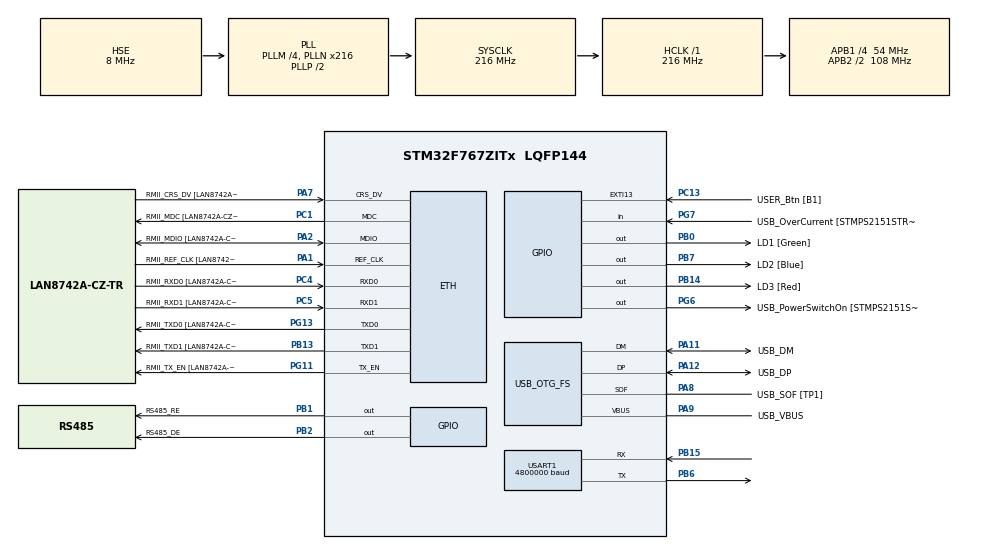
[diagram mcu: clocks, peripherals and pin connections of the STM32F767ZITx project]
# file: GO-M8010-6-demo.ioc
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ETH.MediaInterface=HAL_ETH_RMII_MODE
ETH.PHY_Name=LAN8742A_PHY_ADDRESS
ETH.PHY_Value=0
ETH.PhyAddress=0
Mcu.Family=STM32F7
Mcu.Name=STM32F767ZITx
Mcu.Package=LQFP144
NVIC.PriorityGroup=NVIC_PRIORITYGROUP_4
PA1.GPIO_Label=RMII_REF_CLK [LAN8742A-CZ-TR_REFCLK0]
PA1.Mode=RMII
PA1.Signal=ETH_REF_CLK
PA10.GPIO_Label=USB_ID
PA10.Signal=USB_OTG_FS_ID
PA11.GPIO_Label=USB_DM
PA11.Mode=Device_Only
PA11.Signal=USB_OTG_FS_DM
PA12.GPIO_Label=USB_DP
PA12.Mode=Device_Only
PA12.Signal=USB_OTG_FS_DP
PA13.GPIO_Label=TMS
PA13.Mode=Serial_Wire
PA13.Signal=SYS_JTMS-SWDIO
PA14.GPIO_Label=TCK
PA14.Mode=Serial_Wire
PA14.Signal=SYS_JTCK-SWCLK
PA2.GPIO_Label=RMII_MDIO [LAN8742A-CZ-TR_MDIO]
PA2.Mode=RMII
PA2.Signal=ETH_MDIO
PA7.GPIO_Label=RMII_CRS_DV [LAN8742A-CZ-TR_CRS_DV]
PA7.Mode=RMII
PA7.Signal=ETH_CRS_DV
PA8.GPIO_Label=USB_SOF [TP1]
PA8.Mode=Activate_SOF_FS
PA8.Signal=USB_OTG_FS_SOF
PA9.GPIO_Label=USB_VBUS
PA9.Mode=Activate_VBUS
PA9.Signal=USB_OTG_FS_VBUS
PB0.GPIO_Label=LD1 [Green]
PB0.PinState=GPIO_PIN_SET
PB0.Signal=GPIO_Output
PB1.GPIO_Label=RS485_RE
PB1.PinState=GPIO_PIN_SET
PB1.Signal=GPIO_Output
PB13.GPIO_Label=RMII_TXD1 [LAN8742A-CZ-TR_TXD1]
PB13.Mode=RMII
PB13.Signal=ETH_TXD1
PB14.GPIO_Label=LD3 [Red]
PB14.Signal=GPIO_Output
PB15.Mode=Asynchronous
PB15.Signal=USART1_RX
PB2.GPIO_Label=RS485_DE
PB2.Signal=GPIO_Output
PB3.GPIO_Label=SWO
PB3.Signal=SYS_JTDO-SWO
PB6.Mode=Asynchronous
PB6.Signal=USART1_TX
PB7.GPIO_Label=LD2 [Blue]
PB7.Signal=GPIO_Output
PC1.GPIO_Label=RMII_MDC [LAN8742A-CZ-TR_MDC]
PC1.Mode=RMII
PC1.Signal=ETH_MDC
PC13.GPIO_Label=USER_Btn [B1]
PC13.Signal=GPXTI13
PC14/OSC32_IN.Mode=LSE-External-Oscillator
PC14/OSC32_IN.Signal=RCC_OSC32_IN
PC15/OSC32_OUT.Mode=LSE-External-Oscillator
PC15/OSC32_OUT.Signal=RCC_OSC32_OUT
PC4.GPIO_Label=RMII_RXD0 [LAN8742A-CZ-TR_RXD0]
PC4.Mode=RMII
PC4.Signal=ETH_RXD0
PC5.GPIO_Label=RMII_RXD1 [LAN8742A-CZ-TR_RXD1]
PC5.Mode=RMII
PC5.Signal=ETH_RXD1
PD8.GPIO_Label=STLK_RX [STM32F103CBT6_PA3]
PD8.Signal=USART3_TX
PD9.GPIO_Label=STLK_TX [STM32F103CBT6_PA2]
PD9.Signal=USART3_RX
PG11.GPIO_Label=RMII_TX_EN [LAN8742A-CZ-TR_TXEN]
PG11.Mode=RMII
PG11.Signal=ETH_TX_EN
PG13.GPIO_Label=RMII_TXD0 [LAN8742A-CZ-TR_TXD0]
PG13.Mode=RMII
PG13.Signal=ETH_TXD0
PG6.GPIO_Label=USB_PowerSwitchOn [STMPS2151STR_EN]
PG6.Signal=GPIO_Output
PG7.GPIO_Label=USB_OverCurrent [STMPS2151STR_FAULT]
PG7.Signal=GPIO_Input
PH0/OSC_IN.GPIO_Label=MCO [STM32F103CBT6_PA8]
PH0/OSC_IN.Mode=HSE-External-Clock-Source
PH0/OSC_IN.Signal=RCC_OSC_IN
PH1/OSC_OUT.Mode=HSE-External-Clock-Source
PH1/OSC_OUT.Signal=RCC_OSC_OUT
ProjectManager.HeapSize=0x200
ProjectManager.StackSize=0x400
ProjectManager.TargetToolchain=MDK-ARM V5.32
RCC.48MHZClocksFreq_Value=24000000
RCC.AHBFreq_Value=216000000
RCC.APB1CLKDivider=RCC_HCLK_DIV4
RCC.APB1Freq_Value=54000000
RCC.APB1TimFreq_Value=108000000
RCC.APB2CLKDivider=RCC_HCLK_DIV2
RCC.APB2Freq_Value=108000000
RCC.APB2TimFreq_Value=216000000
RCC.CortexFreq_Value=216000000
RCC.HCLKFreq_Value=216000000
RCC.HSE_VALUE=8000000
RCC.HSI_VALUE=16000000
RCC.PLLM=4
RCC.PLLMUL=RCC_PLL_MUL9
RCC.PLLN=216
RCC.PLLQ=9
RCC.PRESCALERUSB=RCC_USBCLKSOURCE_PLL_DIV1_5
RCC.SYSCLKFreq_VALUE=216000000
RCC.SYSCLKSource=RCC_SYSCLKSOURCE_PLLCLK
RCC.SYSCLKSourceVirtual=RCC_SYSCLKSOURCE_PLLCLK
RCC.USBFreq_Value=48000000
RCC.VCOOutputFreq_Value=432000000
USART1.BaudRate=4800000
USART1.VirtualMode-Asynchronous=VM_ASYNC
USB_OTG_FS.VirtualMode=Device_Only
board=NUCLEO-F767ZI

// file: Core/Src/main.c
/* USER CODE BEGIN Header */
/**
  ******************************************************************************
  * @file           : main.c
  * @brief          : Main program body
  ******************************************************************************
  * @attention
  *
  * Copyright (c) 2023 STMicroelectronics.
  * All rights reserved.
  *
  * This software is licensed under terms that can be found in the LICENSE file
  * in the root directory of this software component.
  * If no LICENSE file comes with this software, it is provided AS-IS.
  *
  ******************************************************************************
  */
/* USER CODE END Header */
#include "main.h"
#include "eth.h"
#include "usart.h"
#include "usb_otg.h"
#include "gpio.h"
#include "motor_control.h"

/* USER CODE BEGIN PV */

MOTOR_send cmd;   //以全局变量声明电机控制结构体和电机数据结构体，方便在故障时通过debug查看变量值
MOTOR_recv data;
/* USER CODE END PV */

void SystemClock_Config(void);

int main(void)
{

  /* MCU Configuration--------------------------------------------------------*/

  /* Reset of all peripherals, Initializes the Flash interface and the Systick. */
  HAL_Init();

  /* Configure the system clock */
  SystemClock_Config();

  /* Initialize all configured peripherals */
  MX_GPIO_Init();
  MX_ETH_Init();
  MX_USART1_UART_Init();
  MX_USB_OTG_FS_PCD_Init();
  /* USER CODE BEGIN 2 */

	cmd.id=0; 			//给电机控制指令结构体赋值
	cmd.mode=1;
	cmd.T=0;
	cmd.W=20;
	cmd.Pos=0;
	cmd.K_P=0;
	cmd.K_W=0.05;

//	cmd.T=0;
//	cmd.W=0;
//	cmd.Pos=0;
//	cmd.K_P=0;
//	cmd.K_W=0;
	unsigned char count = 0;

  /* USER CODE END 2 */

  /* Infinite loop */
  /* USER CODE BEGIN WHILE */

  while (1)
  {
		SERVO_Send_recv(&cmd, &data);	//将控制指令发送给电机，同时接收返回值
		HAL_Delay(500);
		HAL_GPIO_TogglePin(LD3_GPIO_Port,LD3_Pin);
		count++;	//每0.5秒循环一次，3秒后发送指令使电机停止转动
		if(count == 6)
		{
			cmd.W=0;
			cmd.K_W=0;
			count=0;
		}

    /* USER CODE END WHILE */

  }
}

void SystemClock_Config(void)
{
  RCC_OscInitTypeDef RCC_OscInitStruct = {0};
  RCC_ClkInitTypeDef RCC_ClkInitStruct = {0};

  /** Configure LSE Drive Capability
  */
  HAL_PWR_EnableBkUpAccess();

  /** Configure the main internal regulator output voltage
  */
  __HAL_RCC_PWR_CLK_ENABLE();
  __HAL_PWR_VOLTAGESCALING_CONFIG(PWR_REGULATOR_VOLTAGE_SCALE1);

  /** Initializes the RCC Oscillators according to the specified parameters
  * in the RCC_OscInitTypeDef structure.
  */
  RCC_OscInitStruct.OscillatorType = RCC_OSCILLATORTYPE_HSE;
  RCC_OscInitStruct.HSEState = RCC_HSE_BYPASS;
  RCC_OscInitStruct.PLL.PLLState = RCC_PLL_ON;
  RCC_OscInitStruct.PLL.PLLSource = RCC_PLLSOURCE_HSE;
  RCC_OscInitStruct.PLL.PLLM = 4;
  RCC_OscInitStruct.PLL.PLLN = 216;
  RCC_OscInitStruct.PLL.PLLP = RCC_PLLP_DIV2;
  RCC_OscInitStruct.PLL.PLLQ = 9;
  RCC_OscInitStruct.PLL.PLLR = 2;
  if (HAL_RCC_OscConfig(&RCC_OscInitStruct) != HAL_OK)
  {
    Error_Handler();
  }

  /** Activate the Over-Drive mode
  */
  if (HAL_PWREx_EnableOverDrive() != HAL_OK)
  {
    Error_Handler();
  }

  /** Initializes the CPU, AHB and APB buses clocks
  */
  RCC_ClkInitStruct.ClockType = RCC_CLOCKTYPE_HCLK|RCC_CLOCKTYPE_SYSCLK
                              |RCC_CLOCKTYPE_PCLK1|RCC_CLOCKTYPE_PCLK2;
  RCC_ClkInitStruct.SYSCLKSource = RCC_SYSCLKSOURCE_PLLCLK;
  RCC_ClkInitStruct.AHBCLKDivider = RCC_SYSCLK_DIV1;
  RCC_ClkInitStruct.APB1CLKDivider = RCC_HCLK_DIV4;
  RCC_ClkInitStruct.APB2CLKDivider = RCC_HCLK_DIV2;

  if (HAL_RCC_ClockConfig(&RCC_ClkInitStruct, FLASH_LATENCY_7) != HAL_OK)
  {
    Error_Handler();
  }
}

void Error_Handler(void)
{
  __disable_irq();
  while (1)
  {
  }
}
